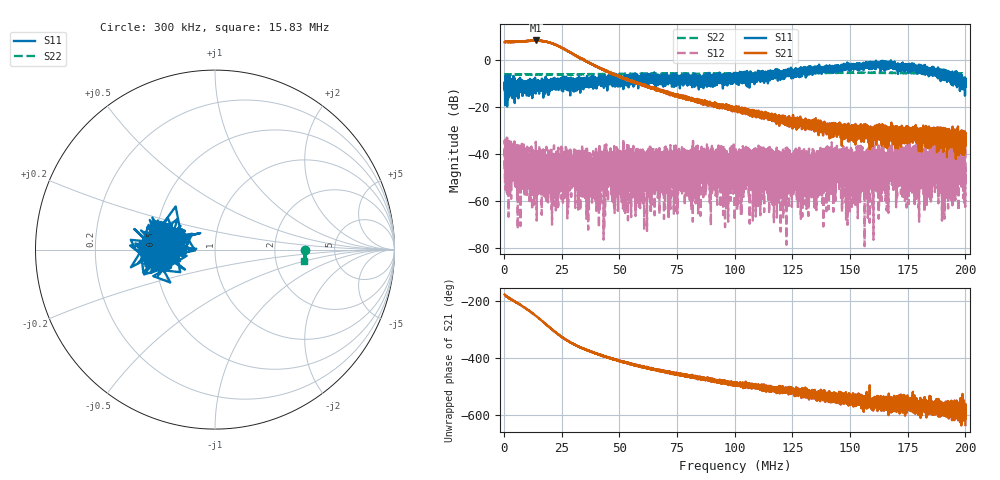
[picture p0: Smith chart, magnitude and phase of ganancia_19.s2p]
# Hz S DB R 50
! CMT, M5065, 19127446, 24.2.4/2
! Date: 10/29/2024 1:12:43 PM
! Data: Format (Calibration Info)
! Freq	S11:dB/Ang(F2)	S21:dB/Ang(F2)	S12:dB/Ang(F2)	S22:dB/Ang(F2)
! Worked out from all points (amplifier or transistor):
!   9000 points, 300 kHz to 200 MHz, reference 50 ohm
!   highest |S21| = 8.4 dB at 13.99 MHz (marker M1)
!   |S21| within 3 dB of that: start of sweep to 24.82 MHz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
!   unconditionally stable (mu >= 1): start of sweep to 167.7 MHz; 167.7 MHz to end of sweep
!   at 33.59 MHz: K = 49.94, MAG = 2.6 dB, |S12| = -44.4 dB
!   at 100.2 MHz: K = 857.82, MAG = -18.7 dB, |S12| = -48.1 dB
!   at 200 MHz: K = 5170.86, MAG = -34.4 dB, |S12| = -47.7 dB
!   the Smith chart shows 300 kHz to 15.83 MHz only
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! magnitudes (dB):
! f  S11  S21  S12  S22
! 300 kHz  -11.1  7.7  -46.3  -6.0
! 3.784 MHz  -8.5  7.8  -41.7  -6.0
! 5.67 MHz  -11.3  7.9  -36.8  -6.0
! 13.99 MHz  -9.4  8.4  -38.7  -6.0
! 33.59 MHz  -9.2  0.8  -44.4  -5.9
! 38.56 MHz  -9.3  -1.9  -50.8  -5.9
! 40.95 MHz  -8.0  -3.0  -44.3  -5.9
! 45.1 MHz  -8.3  -5.0  -60.2  -5.8
! 48.59 MHz  -8.5  -6.2  -43.1  -5.9
! 66.87 MHz  -8.8  -12.7  -42.7  -5.8
! 87.53 MHz  -9.6  -17.8  -46.2  -5.7
! 100.2 MHz  -7.9  -20.8  -48.1  -5.7
! 133.4 MHz  -5.5  -25.6  -45.5  -5.4
! 166.7 MHz  -3.2  -30.8  -50.2  -5.4
! 176.5 MHz  -2.9  -33.3  -39.7  -5.5
! 179 MHz  -3.7  -34.1  -47.3  -5.5
! 181 MHz  -4.3  -39.0  -40.0  -5.5
! 184.2 MHz  -4.9  -28.2  -42.3  -5.5
! 186.3 MHz  -4.3  -35.9  -43.5  -5.5
! 190.6 MHz  -7.2  -29.9  -60.0  -5.6
! 198.4 MHz  -9.1  -36.1  -38.1  -5.5
! 200 MHz  -10.7  -36.2  -47.7  -5.6
